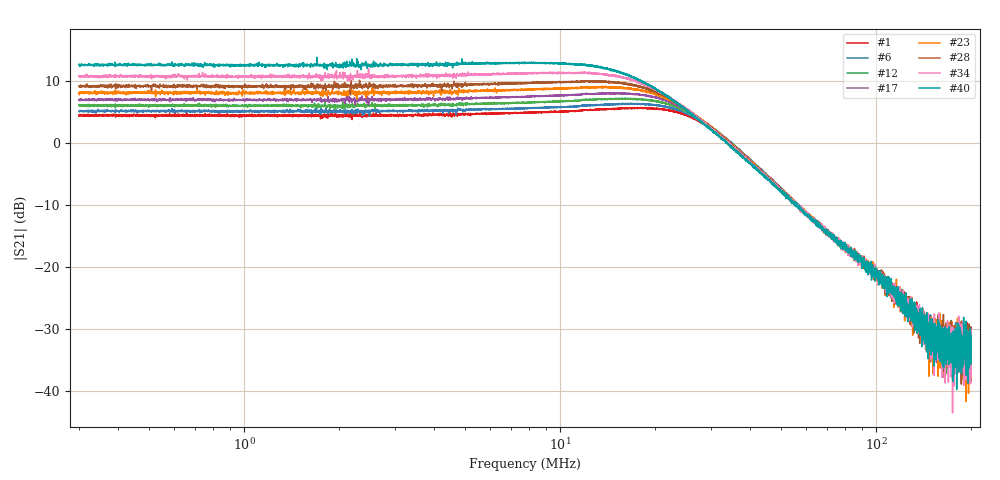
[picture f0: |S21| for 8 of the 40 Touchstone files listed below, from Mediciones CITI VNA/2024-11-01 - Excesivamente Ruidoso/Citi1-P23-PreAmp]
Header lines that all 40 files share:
# Hz S DB R 50
! CMT, M5065, 19127446, 24.2.4/2
! Data: Format (Calibration Info)
! Freq	S11:dB/Ang(F2)	S21:dB/Ang(F2)	S12:dB/Ang(F2)	S22:dB/Ang(F2)
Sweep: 300 kHz to 200 MHz
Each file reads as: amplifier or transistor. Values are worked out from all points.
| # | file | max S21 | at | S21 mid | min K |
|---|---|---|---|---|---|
| 1 | ganancia_0.s2p | 5.8 dB | 17.6 MHz | 5.0 dB at 7.749 MHz | -4732.06 |
| 2 | ganancia_1.s2p | 5.9 dB | 17.93 MHz | 5.1 dB at 7.749 MHz | -3508.61 |
| 3 | ganancia_2.s2p | 6.0 dB | 17.29 MHz | 5.2 dB at 7.749 MHz | -9912.60 |
| 4 | ganancia_3.s2p | 6.1 dB | 16.89 MHz | 5.3 dB at 7.749 MHz | -6008.74 |
| 5 | ganancia_4.s2p | 6.4 dB | 17.92 MHz | 5.5 dB at 7.749 MHz | -3301.01 |
| 6 | ganancia_5.s2p | 6.5 dB | 15.79 MHz | 5.7 dB at 7.749 MHz | -2846.81 |
| 7 | ganancia_6.s2p | 6.6 dB | 16.79 MHz | 5.7 dB at 7.749 MHz | -2763.83 |
| 8 | ganancia_7.s2p | 6.7 dB | 16.06 MHz | 5.9 dB at 7.749 MHz | -3197.39 |
| 9 | ganancia_8.s2p | 6.9 dB | 16.87 MHz | 6.2 dB at 7.749 MHz | -1568.10 |
| 10 | ganancia_9.s2p | 7.0 dB | 15.74 MHz | 6.3 dB at 7.749 MHz | -1354.81 |
| 11 | ganancia_10.s2p | 7.2 dB | 15.67 MHz | 6.4 dB at 7.749 MHz | -3773.91 |
| 12 | ganancia_11.s2p | 7.3 dB | 16.12 MHz | 6.6 dB at 7.749 MHz | -3985.31 |
| 13 | ganancia_12.s2p | 7.5 dB | 15.26 MHz | 6.8 dB at 7.749 MHz | -2403.35 |
| 14 | ganancia_13.s2p | 7.7 dB | 15.72 MHz | 7.0 dB at 7.749 MHz | -5618.74 |
| 15 | ganancia_14.s2p | 7.8 dB | 15.22 MHz | 7.0 dB at 7.749 MHz | -2030.63 |
| 16 | ganancia_15.s2p | 7.9 dB | 15.77 MHz | 7.2 dB at 7.749 MHz | -987.81 |
| 17 | ganancia_16.s2p | 8.2 dB | 15.42 MHz | 7.6 dB at 7.749 MHz | -3038.25 |
| 18 | ganancia_17.s2p | 8.3 dB | 14.33 MHz | 7.7 dB at 7.749 MHz | -1656.66 |
| 19 | ganancia_18.s2p | 8.5 dB | 13.65 MHz | 7.9 dB at 7.749 MHz | -1516.68 |
| 20 | ganancia_19.s2p | 9.6 dB | 2.012 MHz | 8.0 dB at 7.749 MHz | -1084.75 |
| 21 | ganancia_20.s2p | 9.3 dB | 2.313 MHz | 8.3 dB at 7.749 MHz | -1839.60 |
| 22 | ganancia_21.s2p | 9.1 dB | 15.14 MHz | 8.4 dB at 7.749 MHz | -1813.31 |
| 23 | ganancia_22.s2p | 9.2 dB | 13.54 MHz | 8.7 dB at 7.749 MHz | -1900.52 |
| 24 | ganancia_23.s2p | 9.4 dB | 13.42 MHz | 8.8 dB at 7.749 MHz | -2773.11 |
| 25 | ganancia_24.s2p | 9.9 dB | 1.969 MHz | 9.1 dB at 7.749 MHz | -2601.62 |
| 26 | ganancia_25.s2p | 9.8 dB | 12.09 MHz | 9.3 dB at 7.749 MHz | -1572.54 |
| 27 | ganancia_26.s2p | 10.1 dB | 2.068 MHz | 9.5 dB at 7.749 MHz | -3120.38 |
| 28 | ganancia_27.s2p | 10.2 dB | 2.32 MHz | 9.8 dB at 7.749 MHz | -3144.98 |
| 29 | ganancia_28.s2p | 10.4 dB | 12.48 MHz | 10.0 dB at 7.749 MHz | -1357.41 |
| 30 | ganancia_29.s2p | 10.6 dB | 11.96 MHz | 10.3 dB at 7.749 MHz | -2623.88 |
| 31 | ganancia_30.s2p | 11.1 dB | 2.138 MHz | 10.6 dB at 7.749 MHz | -2188.70 |
| 32 | ganancia_31.s2p | 11.1 dB | 2.166 MHz | 10.7 dB at 7.749 MHz | -5654.36 |
| 33 | ganancia_32.s2p | 11.4 dB | 1.709 MHz | 11.0 dB at 7.749 MHz | -1684.30 |
| 34 | ganancia_33.s2p | 12.0 dB | 2.478 MHz | 11.3 dB at 7.749 MHz | -2411.85 |
| 35 | ganancia_34.s2p | 12.2 dB | 2.456 MHz | 11.6 dB at 7.749 MHz | -3367.08 |
| 36 | ganancia_35.s2p | 12.2 dB | 1.714 MHz | 11.8 dB at 7.749 MHz | -7545.30 |
| 37 | ganancia_36.s2p | 12.7 dB | 2.256 MHz | 12.2 dB at 7.749 MHz | -1937.12 |
| 38 | ganancia_37.s2p | 13.1 dB | 2.458 MHz | 12.4 dB at 7.749 MHz | -1334.07 |
| 39 | ganancia_38.s2p | 13.1 dB | 2.021 MHz | 12.8 dB at 7.749 MHz | -10354.21 |
| 40 | ganancia_39.s2p | 13.9 dB | 1.698 MHz | 13.0 dB at 7.749 MHz | -2126.12 |
